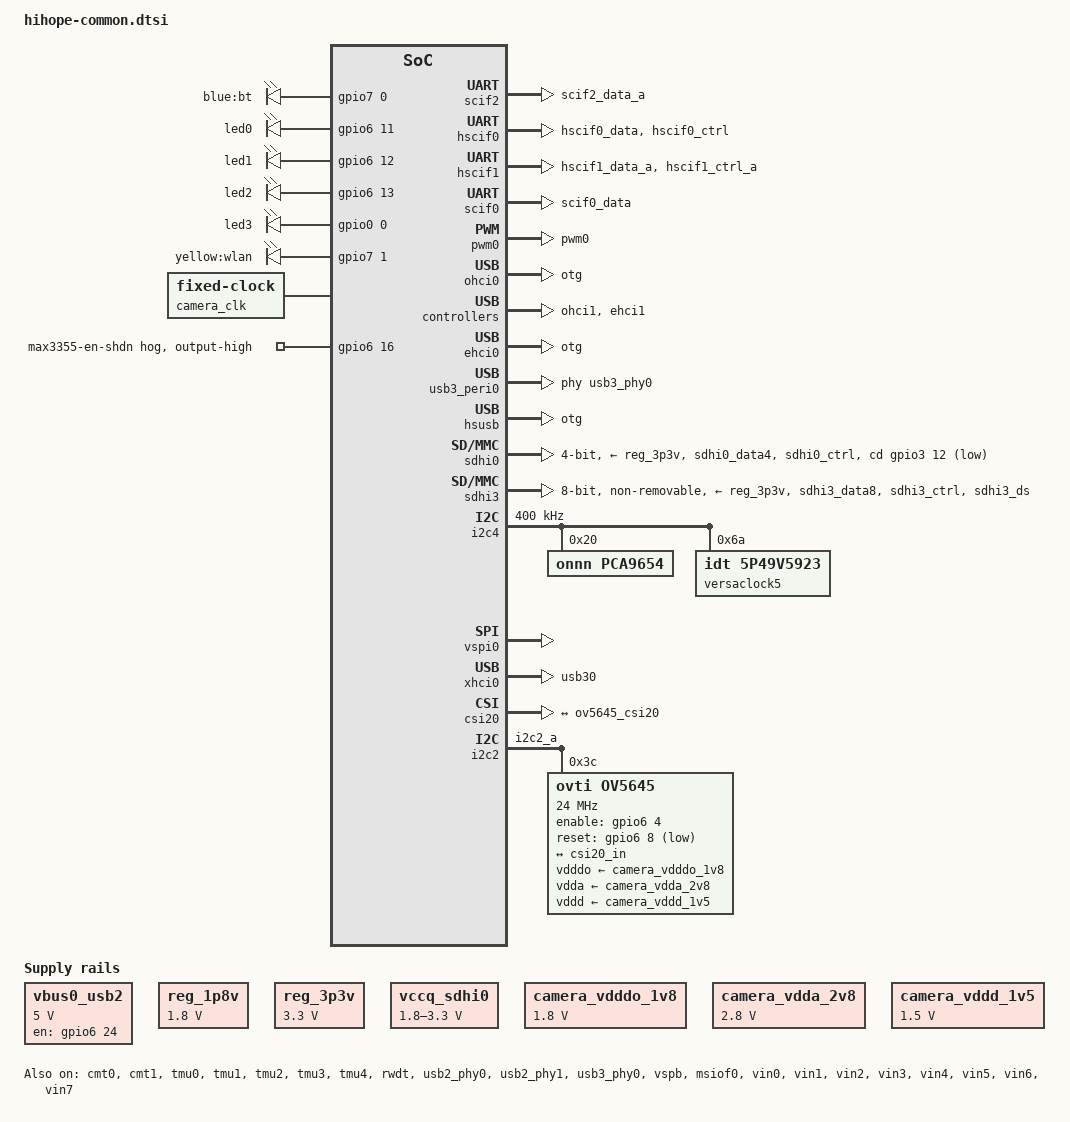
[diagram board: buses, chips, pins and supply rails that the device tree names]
// SPDX-License-Identifier: GPL-2.0
/*
 * Device Tree Source for common parts of Main boards for HiHope RZ/G2M platform
 * and HiHope RZ/G2N platform
 *
 * Copyright (C) 2019 Renesas Electronics Corp.
 */

#include <dt-bindings/gpio/gpio.h>

/ {
	aliases {
		serial0 = &scif2;
		serial1 = &hscif0;
		serial2 = &hscif1;
		serial3 = &scif0;
		spi0 = &msiof0;
		spi1 = &msiof1;
		spi2 = &msiof2;
		spi3 = &msiof3;
	};

	chosen {
		bootargs = "ignore_loglevel rw root=/dev/nfs ip=dhcp";
		stdout-path = "serial0:115200n8";
	};

	vspm_if {
		compatible = "renesas,vspm_if";
	};

	vbus0_usb2: regulator-vbus0-usb2 {
		compatible = "regulator-fixed";
		regulator-name = "USB20_VBUS0";
		regulator-min-microvolt = <5000000>;
		regulator-max-microvolt = <5000000>;

		gpio = <&gpio6 24 GPIO_ACTIVE_HIGH>;
		enable-active-high;
	};

	reg_1p8v: regulator0 {
		compatible = "regulator-fixed";
		regulator-name = "fixed-1.8V";
		regulator-min-microvolt = <1800000>;
		regulator-max-microvolt = <1800000>;
		regulator-boot-on;
		regulator-always-on;
	};

	reg_3p3v: regulator1 {
		compatible = "regulator-fixed";
		regulator-name = "fixed-3.3V";
		regulator-min-microvolt = <3300000>;
		regulator-max-microvolt = <3300000>;
		regulator-boot-on;
		regulator-always-on;
	};

	vccq_sdhi0: regulator-vccq-sdhi0 {
		compatible = "regulator-gpio";

		regulator-name = "SDHI0 VccQ";
		regulator-min-microvolt = <1800000>;
		regulator-max-microvolt = <3300000>;

		gpios = <&gpio6 30 GPIO_ACTIVE_HIGH>;
		gpios-states = <1>;
		states = <3300000 1
			  1800000 0>;
	};

	/* External DU dot clocks */
	x302_clk: x302-clock {
		compatible = "fixed-clock";
		#clock-cells = <0>;
		clock-frequency = <33000000>;
	};

	x304_clk: x304-clock {
		compatible = "fixed-clock";
		#clock-cells = <0>;
		clock-frequency = <25000000>;
	};

	sound {
		compatible = "simple-audio-card";
		simple-audio-card,format = "i2s";

		sndcpu: simple-audio-card,cpu {
			sound-dai = <&rcar_sound>;
			bitclock-master;
			frame-master;
		};
		sndcodec: simple-audio-card,codec {
			sound-dai = <&pcm5102a>;
		};
	};

	leds {
		compatible = "gpio-leds";

		bt_active_led {
			label = "blue:bt";
			gpios = <&gpio7  0 GPIO_ACTIVE_HIGH>;
			linux,default-trigger = "hci0-power";
			default-state = "off";
		};

		led0 {
			gpios = <&gpio6 11 GPIO_ACTIVE_HIGH>;
			label = "led0";
		};

		led1 {
			gpios = <&gpio6 12 GPIO_ACTIVE_HIGH>;
			label = "led1";
		};

		led2 {
			gpios = <&gpio6 13 GPIO_ACTIVE_HIGH>;
			label = "led2";
		};

		led3 {
			gpios = <&gpio0  0 GPIO_ACTIVE_HIGH>;
			label = "led3";
		};

		wlan_active_led {
			label = "yellow:wlan";
			gpios = <&gpio7  1 GPIO_ACTIVE_HIGH>;
			linux,default-trigger = "phy0tx";
			default-state = "off";
		};
	};

	pcm5102a: pcm5102a {
		compatible = "ti,pcm5102a";
		#sound-dai-cells = <0>;
	};

	camera_vdddo_1v8: 1p8v {
		compatible = "regulator-fixed";
		regulator-name = "camera_vdddo";
		regulator-min-microvolt = <1800000>;
		regulator-max-microvolt = <1800000>;
		regulator-always-on;
	};

	camera_vdda_2v8: 2p8v {
		compatible = "regulator-fixed";
		regulator-name = "camera_vdda";
		regulator-min-microvolt = <2800000>;
		regulator-max-microvolt = <2800000>;
		regulator-always-on;
	};

	camera_vddd_1v5: 1p5v {
		compatible = "regulator-fixed";
		regulator-name = "camera_vddd";
		regulator-min-microvolt = <1500000>;
		regulator-max-microvolt = <1500000>;
		regulator-always-on;
	};

	camera_clk: camera_clk {
		compatible = "fixed-clock";
		#clock-cells = <0>;
		clock-frequency = <24000000>;
	};
};

&audio_clk_a {
	clock-frequency = <22579200>;
};

&extal_clk {
	clock-frequency = <16666666>;
};

&extalr_clk {
	clock-frequency = <32768>;
};

&usb_extal_clk {
	clock-frequency = <50000000>;
};

&usb3s0_clk {
	clock-frequency = <100000000>;
};

&pfc {
	pinctrl-0 = <&scif_clk_pins>;
	pinctrl-names = "default";

	scif2_pins: scif2 {
		groups = "scif2_data_a";
		function = "scif2";
	};

	hscif0_pins: hscif0 {
		groups = "hscif0_data", "hscif0_ctrl";
		function = "hscif0";
	};

	hscif1_pins: hscif1 {
		groups = "hscif1_data_a", "hscif1_ctrl_a";
		function = "hscif1";
	};

	scif0_pins: scif0 {
		groups = "scif0_data";
		function = "scif0";
	};

	scif_clk_pins: scif_clk {
		groups = "scif_clk_a";
		function = "scif_clk";
	};

	pwm0_pins: pwm0 {
		groups = "pwm0";
		function = "pwm0";
	};

	usb0_pins: usb0 {
		groups = "usb0";
		function = "usb0";
	};

	usb1_pins: usb1 {
		mux {
			groups = "usb1";
			function = "usb1";
		};

		ovc {
			pins = "GP_6_27";
			bias-pull-up;
		};

		pwen {
			pins = "GP_6_26";
		};
	};

	sdhi0_pins: sd0 {
		groups = "sdhi0_data4", "sdhi0_ctrl";
		function = "sdhi0";
		power-source = <3300>;
	};

	sdhi0_pins_uhs: sd0_uhs {
		groups = "sdhi0_data4", "sdhi0_ctrl";
		function = "sdhi0";
		power-source = <1800>;
	};

	sdhi3_pins: sd3 {
		groups = "sdhi3_data8", "sdhi3_ctrl", "sdhi3_ds";
		function = "sdhi3";
		power-source = <3300>;
	};

	sdhi3_pins_uhs: sd3_uhs {
		groups = "sdhi3_data8", "sdhi3_ctrl", "sdhi3_ds";
		function = "sdhi3";
		power-source = <1800>;
	};

	du_pins: du {
		groups = "du_rgb888", "du_sync", "du_oddf", "du_clk_out_0";
		function = "du";
	};

	usb30_pins: usb30 {
		groups = "usb30";
		function = "usb30";
	};

	sound_pins: sound {
		groups = "ssi01239_ctrl", "ssi0_data", "ssi1_data_a";
		function = "ssi";
	};

	sound_clk_pins: sound_clk {
		groups = "audio_clk_a_a";
		function = "audio_clk";
	};

	msiof0_pins: spi0 {
		groups = "msiof0_clk", "msiof0_sync",
			 "msiof0_rxd", "msiof0_txd";
		function = "msiof0";
	};

	i2c2_pins: i2c2 {
		groups = "i2c2_a";
		function = "i2c2";
	};
};

&scif2 {
	pinctrl-0 = <&scif2_pins>;
	pinctrl-names = "default";

	status = "okay";
};

&hscif0 {
	pinctrl-0 = <&hscif0_pins>;
	pinctrl-names = "default";

	uart-has-rtscts;
	status = "okay";
};

&hscif1 {
	pinctrl-0 = <&hscif1_pins>;
	pinctrl-names = "default";

	uart-has-rtscts;
	status = "okay";
};

&scif0 {
	pinctrl-0 = <&scif0_pins>;
	pinctrl-names = "default";

	status = "okay";
};

&scif_clk {
	clock-frequency = <14745600>;
};

&pwm0 {
	pinctrl-0 = <&pwm0_pins>;
	pinctrl-names = "default";

	status = "okay";
};

&cmt0 {
	status = "okay";
};

&cmt1 {
	status = "okay";
};

&tmu0 {
	status = "okay";
};

&tmu1 {
	status = "okay";
};

&tmu2 {
	status = "okay";
};

&tmu3 {
	status = "okay";
};

&tmu4 {
	status = "okay";
};

&rwdt {
	status = "okay";
	timeout-sec = <60>;
};

&ohci0 {
	dr_mode = "otg";
	status = "okay";
};

&ohci1 {
	status = "okay";
};

&ehci0 {
	dr_mode = "otg";
	status = "okay";
};

&ehci1 {
	status = "okay";
};

&usb2_phy0 {
	pinctrl-0 = <&usb0_pins>;
	pinctrl-names = "default";

	vbus-supply = <&vbus0_usb2>;
	status = "okay";
};

&usb2_phy1 {
	pinctrl-0 = <&usb1_pins>;
	pinctrl-names = "default";

	status = "okay";
};

&usb3_peri0 {
	phys = <&usb3_phy0>;
	phy-names = "usb";

	status = "okay";
};

&usb3_phy0 {
	status = "okay";
};

&hsusb {
	dr_mode = "otg";
	status = "okay";
};

&gpio6 {
	max3355-en-shdn {
		gpio-hog;
		gpios = <16 GPIO_ACTIVE_HIGH>;
		output-high;
		line-name = "max3355-en-shdn";
	};
};

&sdhi0 {
	pinctrl-0 = <&sdhi0_pins>;
	pinctrl-1 = <&sdhi0_pins_uhs>;
	pinctrl-names = "default", "state_uhs";

	vmmc-supply = <&reg_3p3v>;
	vqmmc-supply = <&vccq_sdhi0>;
	cd-gpios = <&gpio3 12 GPIO_ACTIVE_LOW>;
	bus-width = <4>;
	sd-uhs-sdr50;
	sd-uhs-sdr104;
	status = "okay";
};

&sdhi3 {
	pinctrl-0 = <&sdhi3_pins>;
	pinctrl-1 = <&sdhi3_pins_uhs>;
	pinctrl-names = "default", "state_uhs";

	vmmc-supply = <&reg_3p3v>;
	vqmmc-supply = <&reg_1p8v>;
	bus-width = <8>;
	mmc-hs200-1_8v;
	non-removable;
	fixed-emmc-driver-type = <1>;
	status = "okay";
};

&i2c4 {
	status = "okay";
	clock-frequency = <400000>;

	pca9654: gpio@20 {
		compatible = "onnn,pca9654";
		reg = <0x20>;
		gpio-controller;
		#gpio-cells = <2>;
	};

	versaclock5: clock-generator@6a {
		compatible = "idt,5p49v5923";
		reg = <0x6a>;
		#clock-cells = <1>;
		clocks = <&x304_clk>;
		clock-names = "xin";
	};
};

&vspb {
	status = "okay";
};

&vspi0 {
	status = "okay";
};

&pcie_bus_clk {
	clock-frequency = <100000000>;
};

&xhci0
{
	pinctrl-0 = <&usb30_pins>;
	pinctrl-names = "default";

	status = "okay";
};

&ssi1 {
	shared-pin;
};

&msiof0 {
	pinctrl-0 = <&msiof0_pins>;
	pinctrl-names = "default";

	status = "okay";
};

&pca9654 {
	bluetooth-en-gpio {
		gpio-hog;
		gpios = <2 GPIO_ACTIVE_HIGH>;
		output-high;
		line-name = "bluetooth-en-gpio";
	};
};

&vin0 {
	status = "okay";
};

&vin1 {
	status = "okay";
};

&vin2 {
	status = "okay";
};

&vin3 {
	status = "okay";
};

&vin4 {
	status = "okay";
};

&vin5 {
	status = "okay";
};

&vin6 {
	status = "okay";
};

&vin7 {
	status = "okay";
};

&csi20 {
	status = "okay";

	ports {
		port@0 {
			reg = <0>;

			csi20_in: endpoint {
				clock-lanes = <0>;
				data-lanes = <1 2>;
				remote-endpoint = <&ov5645_csi20>;
			};
		};
	};
};

&i2c2 {
	pinctrl-0 = <&i2c2_pins>;
	pinctrl-names = "default";
	status = "okay";

	ov5645: ov5645@3c {
		compatible = "ovti,ov5645";
		reg = <0x3c>;

		enable-gpios = <&gpio6 4 GPIO_ACTIVE_HIGH>;
		reset-gpios = <&gpio6 8 GPIO_ACTIVE_LOW>;

		clocks = <&camera_clk>;
		clock-names = "xclk";
		clock-frequency = <24000000>;

		vdddo-supply = <&camera_vdddo_1v8>;
		vdda-supply = <&camera_vdda_2v8>;
		vddd-supply = <&camera_vddd_1v5>;

		port {
			ov5645_csi20: endpoint {
				clock-lanes = <0>;
				data-lanes = <1 2>;
				remote-endpoint = <&csi20_in>;
			};
		};
	};
};
